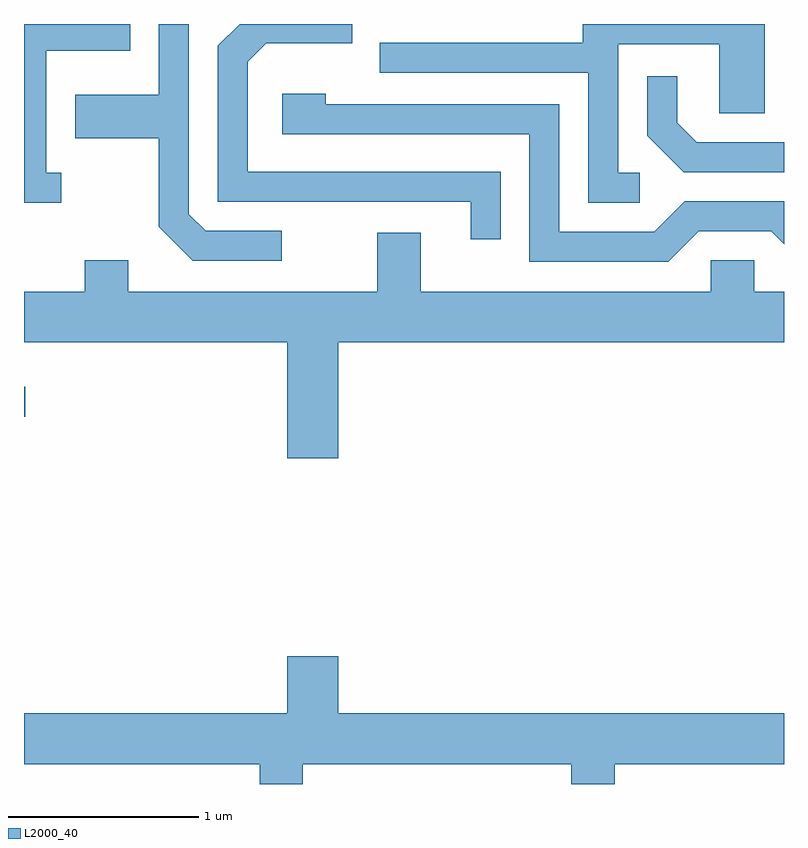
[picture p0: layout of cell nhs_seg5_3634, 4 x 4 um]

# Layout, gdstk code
import gdstk
lib = gdstk.Library(unit=1e-6, precision=1e-09)
def R(c, l, rs):  # rectangles x0, y0, x1, y1
    for r in rs: c.add(gdstk.rectangle(r[:2], r[2:], *l))
def P(c, l, *ps):  # polygons
    for p in ps: c.add(gdstk.Polygon(p, *l))
L2000_40 = (2000, 40)

nhs_seg5_3634 = lib.new_cell('nhs_seg5_3634')
R(nhs_seg5_3634, L2000_40, [(293.611,1412.006,293.618,1412.164)])
P(nhs_seg5_3634, L2000_40, [(293.808,1413.289),(293.729,1413.289),(293.729,1413.931),(294.169,1413.931),(294.169,1414.072),(293.611,1414.072),(293.611,1413.131),(293.808,1413.131)],
  [(296.119,1413.294),(294.789,1413.294),(294.789,1413.874),(294.887,1413.971),(295.339,1413.971),(295.339,1414.072),(294.747,1414.072),(294.631,1413.957),(294.631,1413.136),(295.961,1413.136),(295.961,1412.938),(296.119,1412.938)],
  [(296.853,1413.289),(296.739,1413.289),(296.739,1413.966),(297.271,1413.966),(297.271,1413.601),(297.509,1413.601),(297.509,1414.072),(296.551,1414.072),(296.551,1413.974),(295.483,1413.974),(295.483,1413.816),(296.581,1413.816),(296.581,1413.131),(296.853,1413.131)],
  [(294.968,1412.984),(294.567,1412.984),(294.479,1413.072),(294.479,1414.072),(294.321,1414.072),(294.321,1413.699),(293.881,1413.699),(293.881,1413.471),(294.321,1413.471),(294.321,1413.004),(294.499,1412.826),(294.968,1412.826)],
  [(297.611,1413.449),(297.152,1413.449),(297.049,1413.552),(297.049,1413.798),(296.891,1413.798),(296.891,1413.484),(297.084,1413.291),(297.611,1413.291)],
  [(297.162,1412.981),(297.544,1412.981),(297.611,1412.914),(297.611,1413.139),(297.089,1413.139),(296.929,1412.979),(296.429,1412.979),(296.429,1413.649),(295.199,1413.649),(295.199,1413.704),(294.971,1413.704),(294.971,1413.491),(296.271,1413.491),(296.271,1412.821),(297.002,1412.821)],
  [(295.264,1412.396),(297.611,1412.396),(297.611,1412.664),(297.454,1412.664),(297.454,1412.829),(297.226,1412.829),(297.226,1412.664),(295.699,1412.664),(295.699,1412.974),(295.471,1412.974),(295.471,1412.664),(294.159,1412.664),(294.159,1412.829),(293.931,1412.829),(293.931,1412.664),(293.611,1412.664),(293.611,1412.396),(294.996,1412.396),(294.996,1411.786),(295.264,1411.786)],
  [(295.079,1410.176),(296.491,1410.176),(296.491,1410.072),(296.719,1410.072),(296.719,1410.176),(297.611,1410.176),(297.611,1410.444),(295.264,1410.444),(295.264,1410.744),(294.996,1410.744),(294.996,1410.444),(293.611,1410.444),(293.611,1410.176),(294.851,1410.176),(294.851,1410.072),(295.079,1410.072)])

lib.write_gds('nhs_seg5_3634.gds')
